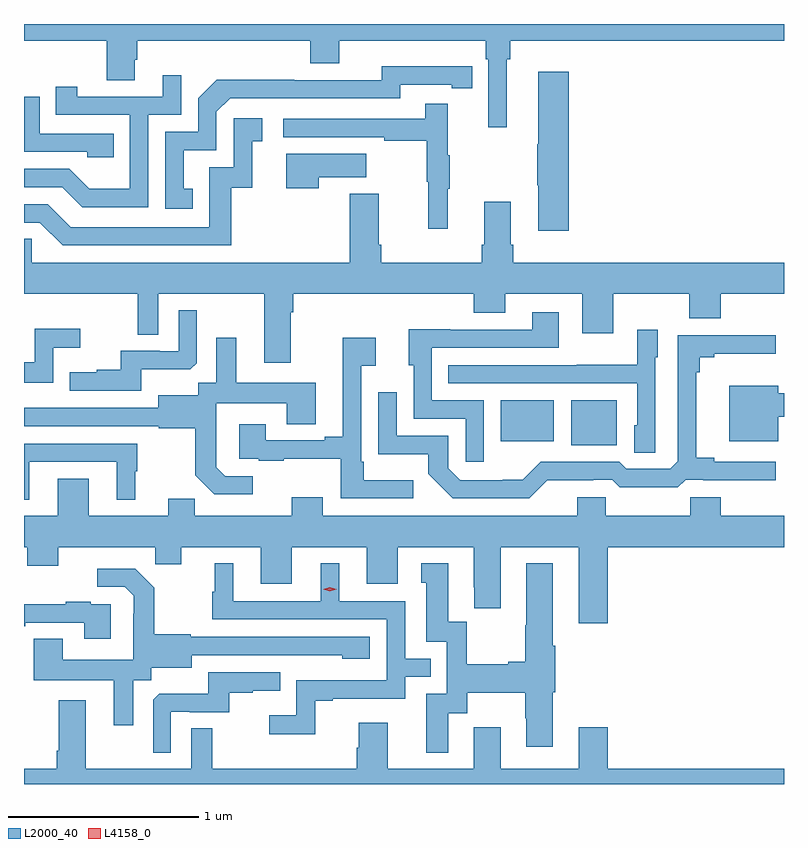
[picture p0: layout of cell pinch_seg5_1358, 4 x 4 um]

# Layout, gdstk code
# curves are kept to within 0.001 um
import gdstk
lib = gdstk.Library(unit=1e-6, precision=1e-09)
def R(c, l, rs):  # rectangles x0, y0, x1, y1
    for r in rs: c.add(gdstk.rectangle(r[:2], r[2:], *l))
def P(c, l, *ps):  # polygons
    for p in ps: c.add(gdstk.Polygon(p, *l))
L2000_40 = (2000, 40)
L4158_0 = (4158, 0)

pinch_seg5_1358 = lib.new_cell('pinch_seg5_1358')
R(pinch_seg5_1358, L2000_40, [(241.88,901.253,242.119,901.489), (241.508,901.274,241.786,901.489)])
P(pinch_seg5_1358, L2000_40, [(241.54,903.284),(241.559,903.284),(241.559,903.38),(242.999,903.38),(242.999,903.469),(238.999,903.469),(238.999,903.38),(239.434,903.38),(239.434,903.172),(239.581,903.172),(239.581,903.282),(239.594,903.282),(239.594,903.38),(240.506,903.38),(240.506,903.263),(240.658,903.263),(240.658,903.38),(241.43,903.38),(241.43,903.284),(241.443,903.284),(241.443,902.925),(241.54,902.925)],
  [(239.888,902.601),(239.839,902.601),(239.839,902.805),(240.012,902.805),(240.012,903.006),(240.084,903.078),(240.978,903.078),(240.978,903.15),(241.25,903.15),(241.25,903.13),(241.358,903.13),(241.358,903.246),(240.882,903.247),(240.882,903.174),(240.422,903.174),(240.422,903.176),(240.014,903.176),(239.916,903.078),(239.916,902.901),(239.742,902.901),(239.742,902.496),(239.888,902.496)],
  [(241.865,903.217),(241.706,903.217),(241.706,902.837),(241.699,902.837),(241.699,902.62),(241.706,902.62),(241.706,902.382),(241.865,902.382)],
  [(239.652,902.991),(239.826,902.991),(239.826,903.199),(239.729,903.199),(239.729,903.087),(239.278,903.087),(239.278,903.139),(239.167,903.139),(239.167,902.991),(239.556,902.991),(239.556,902.602),(239.342,902.602),(239.238,902.706),(238.999,902.706),(238.999,902.61),(239.201,902.61),(239.306,902.505),(239.652,902.505)],
  [(239.471,902.892),(239.082,902.892),(239.082,903.087),(238.999,903.087),(238.999,902.796),(239.331,902.796),(239.331,902.769),(239.471,902.769)],
  [(241.229,902.603),(241.24,902.603),(241.24,902.777),(241.229,902.777),(241.229,903.049),(241.111,903.049),(241.111,902.97),(240.363,902.97),(240.363,902.874),(240.895,902.874),(240.895,902.854),(241.119,902.854),(241.119,902.64),(241.126,902.64),(241.126,902.391),(241.229,902.391)],
  [(240.089,902.607),(240.2,902.607),(240.2,902.853),(240.253,902.853),(240.253,902.974),(240.102,902.974),(240.102,902.715),(239.973,902.715),(239.973,902.4),(239.244,902.4),(239.124,902.52),(238.999,902.52),(238.999,902.424),(239.082,902.424),(239.202,902.304),(240.089,902.304)],
  [(240.551,902.663),(240.799,902.663),(240.799,902.785),(240.38,902.785),(240.38,902.604),(240.551,902.604)],
  [(240.403,901.952),(240.416,901.952),(240.416,902.048),(241.367,902.048),(241.367,901.949),(241.531,901.949),(241.531,902.048),(241.937,902.048),(241.937,901.842),(242.101,901.842),(242.101,902.048),(242.501,902.048),(242.501,901.92),(242.665,901.92),(242.665,902.048),(242.999,902.048),(242.999,902.212),(241.574,902.212),(241.574,902.308),(241.561,902.308),(241.561,902.533),(241.421,902.533),(241.421,902.308),(241.409,902.308),(241.409,902.212),(240.878,902.212),(240.878,902.308),(240.865,902.308),(240.865,902.575),(240.713,902.575),(240.713,902.212),(239.04,902.212),(239.04,902.339),(238.999,902.339),(238.999,902.048),(239.598,902.048),(239.598,901.834),(239.706,901.834),(239.706,902.048),(240.263,902.048),(240.263,901.686),(240.403,901.686)],
  [(239.617,901.652),(239.875,901.652),(239.907,901.683),(239.907,901.963),(239.814,901.963),(239.814,901.746),(239.714,901.746),(239.714,901.749),(239.507,901.749),(239.507,901.648),(239.383,901.648),(239.383,901.636),(239.239,901.636),(239.239,901.539),(239.617,901.539)],
  [(241.419,901.488),(241.146,901.488),(241.146,901.764),(241.813,901.764),(241.813,901.951),(241.673,901.951),(241.673,901.86),(241.243,901.86),(241.243,901.862),(241.025,901.862),(241.025,901.674),(241.05,901.674),(241.05,901.392),(241.323,901.392),(241.323,901.164),(241.419,901.164)],
  [(239.154,901.766),(239.296,901.766),(239.296,901.865),(239.056,901.865),(239.056,901.69),(238.999,901.69),(238.999,901.581),(239.154,901.581)],
  [(242.322,901.716),(242.335,901.716),(242.335,901.861),(242.226,901.861),(242.226,901.675),(241.909,901.675),(241.909,901.674),(241.231,901.674),(241.231,901.578),(242.226,901.578),(242.226,901.356),(242.21,901.356),(242.21,901.213),(242.322,901.213)],
  [(241.754,901.067),(241.994,901.067),(241.994,901.071),(242.094,901.071),(242.134,901.032),(242.441,901.032),(242.481,901.071),(242.575,901.071),(242.575,901.067),(242.956,901.067),(242.956,901.164),(242.632,901.164),(242.632,901.187),(242.536,901.187),(242.536,901.637),(242.555,901.637),(242.555,901.714),(242.632,901.714),(242.632,901.733),(242.956,901.733),(242.956,901.83),(242.439,901.83),(242.439,901.167),(242.4,901.128),(242.169,901.128),(242.133,901.164),(241.719,901.164),(241.625,901.07),(241.52,901.07),(241.52,901.068),(241.296,901.068),(241.233,901.131),(241.233,901.302),(240.96,901.302),(240.96,901.531),(240.864,901.531),(240.864,901.205),(241.126,901.205),(241.126,901.103),(241.256,900.972),(241.659,900.972)],
  [(241.048,901.069),(240.787,901.069),(240.787,901.165),(240.774,901.165),(240.774,901.67),(240.85,901.67),(240.85,901.819),(240.677,901.819),(240.677,901.297),(240.581,901.297),(240.581,901.278),(240.271,901.278),(240.271,901.363),(240.131,901.363),(240.131,901.182),(240.235,901.182),(240.235,901.17),(240.367,901.17),(240.367,901.181),(240.666,901.181),(240.666,900.972),(241.048,900.972)],
  [(240.202,901.089),(240.057,901.089),(240.01,901.136),(240.01,901.231),(240.012,901.231),(240.012,901.472),(240.383,901.472),(240.383,901.363),(240.535,901.363),(240.535,901.582),(240.115,901.582),(240.115,901.819),(240.011,901.819),(240.011,901.58),(239.916,901.58),(239.916,901.516),(239.705,901.516),(239.705,901.449),(238.999,901.45),(238.999,901.353),(239.709,901.353),(239.709,901.341),(239.901,901.341),(239.901,901.095),(240.001,900.995),(240.202,900.995)],
  [(242.968,901.403),(242.999,901.403),(242.999,901.525),(242.968,901.525),(242.968,901.564),(242.711,901.564),(242.711,901.274),(242.968,901.274)],
  [(239.026,901.164),(239.486,901.164),(239.486,900.965),(239.584,900.965),(239.584,901.116),(239.596,901.116),(239.596,901.26),(238.999,901.26),(238.999,900.965),(239.026,900.965)],
  [(242.072,900.716),(242.999,900.716),(242.999,900.88),(242.666,900.88),(242.666,900.978),(242.506,900.978),(242.506,900.88),(242.061,900.88),(242.061,900.978),(241.91,900.978),(241.91,900.88),(240.571,900.88),(240.571,900.979),(240.407,900.979),(240.407,900.88),(239.897,900.88),(239.897,900.971),(239.759,900.971),(239.759,900.88),(239.341,900.88),(239.341,901.075),(239.177,901.075),(239.177,900.88),(238.999,900.88),(238.999,900.716),(239.015,900.716),(239.015,900.617),(239.179,900.617),(239.179,900.716),(239.689,900.716),(239.689,900.626),(239.827,900.626),(239.827,900.716),(240.245,900.716),(240.245,900.522),(240.409,900.522),(240.409,900.716),(240.803,900.716),(240.803,900.522),(240.967,900.522),(240.967,900.716),(241.367,900.716),(241.367,900.505),(241.37,900.505),(241.37,900.393),(241.507,900.393),(241.507,900.716),(241.919,900.716),(241.919,900.315),(242.072,900.315)],
  [(241.231,899.842),(241.333,899.842),(241.333,899.948),(241.636,899.948),(241.636,899.814),(241.643,899.814),(241.643,899.664),(241.783,899.664),(241.783,899.952),(241.796,899.952),(241.796,900.196),(241.783,900.196),(241.783,900.631),(241.643,900.631),(241.643,900.305),(241.636,900.305),(241.636,900.113),(241.547,900.113),(241.547,900.1),(241.329,900.1),(241.329,900.323),(241.231,900.323),(241.231,900.631),(241.091,900.631),(241.091,900.528),(241.115,900.528),(241.115,900.219),(241.224,900.219),(241.224,899.943),(241.115,899.943),(241.115,899.634),(241.231,899.634)],
  [(240.531,899.907),(240.625,899.907),(240.625,899.919),(241.005,899.919),(241.005,900.033),(241.139,900.033),(241.139,900.129),(241.005,900.129),(241.005,900.432),(240.658,900.432),(240.658,900.631),(240.56,900.631),(240.56,900.432),(240.1,900.432),(240.1,900.631),(240.002,900.631),(240.002,900.48),(239.991,900.48),(239.991,900.336),(240.909,900.336),(240.909,900.015),(240.432,900.015),(240.432,899.83),(240.291,899.83),(240.291,899.732),(240.531,899.732)],
  [(239.575,900.016),(239.67,900.016),(239.67,900.08),(239.881,900.08),(239.881,900.147),(240.675,900.146),(240.675,900.128),(240.82,900.128),(240.82,900.243),(239.877,900.243),(239.877,900.256),(239.685,900.256),(239.685,900.501),(239.585,900.601),(239.385,900.601),(239.385,900.507),(239.529,900.507),(239.576,900.46),(239.576,900.365),(239.574,900.365),(239.574,900.124),(239.203,900.124),(239.203,900.233),(239.051,900.233),(239.051,900.014),(239.471,900.014),(239.471,899.778),(239.575,899.778)],
  [(239.455,900.414),(239.351,900.414),(239.351,900.427),(239.219,900.427),(239.219,900.416),(238.999,900.416),(238.999,900.3),(239.005,900.3),(239.005,900.318),(239.315,900.318),(239.315,900.234),(239.455,900.234)],
  [(239.772,899.85),(239.872,899.85),(239.872,899.847),(240.08,899.847),(240.08,899.949),(240.203,899.949),(240.203,899.96),(240.347,899.96),(240.347,900.057),(239.97,900.057),(239.97,899.945),(239.711,899.945),(239.679,899.913),(239.679,899.633),(239.772,899.633)],
  [(242.999,899.548),(242.072,899.548),(242.072,899.767),(241.919,899.767),(241.919,899.548),(241.507,899.548),(241.507,899.767),(241.367,899.767),(241.367,899.548),(240.913,899.548),(240.913,899.791),(240.761,899.791),(240.761,899.661),(240.749,899.661),(240.749,899.548),(239.989,899.548),(239.989,899.762),(239.88,899.762),(239.88,899.548),(239.323,899.548),(239.323,899.911),(239.183,899.911),(239.183,899.644),(239.171,899.644),(239.171,899.548),(238.999,899.548),(238.999,899.469),(242.999,899.469)])
P(pinch_seg5_1358, L4158_0, [(240.609,900.484),(240.573,900.494),(240.573,900.494),(240.573,900.494),(240.609,900.504),(240.645,900.493),(240.645,900.493),(240.645,900.493)])

lib.write_gds('pinch_seg5_1358.gds')
